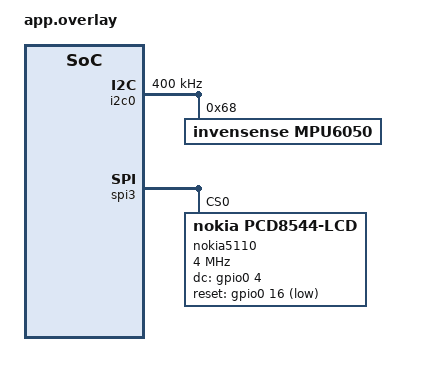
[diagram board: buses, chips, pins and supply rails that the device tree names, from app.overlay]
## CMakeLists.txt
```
cmake_minimum_required(VERSION 3.20.0)

find_package(Zephyr REQUIRED HINTS $ENV{ZEPHYR_BASE})
project(esp32_mpu_nokia)

target_sources(app PRIVATE
	src/main.c
	src/pcd8544.c
)
```

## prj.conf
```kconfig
# Bus I2C (MPU6050)
CONFIG_I2C=y

# Bus SPI + GPIO (Nokia 5110)
CONFIG_SPI=y
CONFIG_GPIO=y

# Capteur MPU6050
CONFIG_SENSOR=y
CONFIG_MPU6050=y

# printf avec des float (%.2f)
CONFIG_CBPRINTF_FP_SUPPORT=y

# Logs sur le port série
CONFIG_LOG=y
CONFIG_MAIN_STACK_SIZE=4096
```

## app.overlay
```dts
#include <zephyr/dt-bindings/gpio/gpio.h>

&i2c0 {
	status = "okay";
	clock-frequency = <I2C_BITRATE_FAST>;

	mpu6050: mpu6050@68 {
		compatible = "invensense,mpu6050";
		reg = <0x68>;          /* 0x69 si la broche AD0 est à 3V3 */
		status = "okay";
	};
};

&spi3 {
	status = "okay";

	nokia5110: lcd@0 {
		compatible = "nokia,pcd8544-lcd";
		reg = <0>;
		spi-max-frequency = <4000000>;   /* PCD8544 : 4 MHz max */
		dc-gpios = <&gpio0 4 GPIO_ACTIVE_HIGH>;
		reset-gpios = <&gpio0 16 GPIO_ACTIVE_LOW>;
	};
};
```

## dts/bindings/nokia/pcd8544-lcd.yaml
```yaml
description: Ecran Nokia 5110 (controleur PCD8544), driver dans l'application

compatible: "nokia,pcd8544-lcd"

include: spi-device.yaml

properties:
  dc-gpios:
    type: phandle-array
    required: true
    description: Broche Data/Command (D/C)

  reset-gpios:
    type: phandle-array
    required: true
    description: Broche RST (active a l'etat bas)
```

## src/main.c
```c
/*
 * ESP32 + MPU6050 + Nokia 5110 sous Zephyr
 * Affiche la température et l'accélération (en g) toutes les 500 ms.
 */

#include <zephyr/kernel.h>
#include <zephyr/device.h>
#include <zephyr/drivers/sensor.h>
#include <zephyr/logging/log.h>
#include <stdio.h>
#include "pcd8544.h"

LOG_MODULE_REGISTER(app, LOG_LEVEL_INF);

#define STANDARD_GRAVITY 9.80665
#define REFRESH_MS       500
#define LCD_CONTRAST     0x3F   /* à ajuster entre 0x30 et 0x50 */

static const struct device *const mpu = DEVICE_DT_GET_ONE(invensense_mpu6050);

int main(void)
{
	char buf[PCD8544_COLS + 1];

	int err = pcd8544_init(LCD_CONTRAST);
	if (err) {
		LOG_ERR("Nokia 5110 non prêt (%d)", err);
		return 0;
	}

	pcd8544_print(0, 0, "Demarrage...");
	pcd8544_update();

	if (!device_is_ready(mpu)) {
		LOG_ERR("MPU6050 non prêt (vérifie le câblage / adresse I2C)");
		pcd8544_clear();
		pcd8544_print(0, 0, "Erreur MPU");
		pcd8544_update();
		return 0;
	}

	LOG_INF("Démarrage OK");

	while (1) {
		struct sensor_value accel[3], temp;

		int rc = sensor_sample_fetch(mpu);
		if (rc == 0) {
			rc = sensor_channel_get(mpu, SENSOR_CHAN_ACCEL_XYZ, accel);
		}
		if (rc == 0) {
			rc = sensor_channel_get(mpu, SENSOR_CHAN_DIE_TEMP, &temp);
		}

		pcd8544_clear();

		if (rc != 0) {
			LOG_WRN("Lecture capteur échouée (%d)", rc);
			pcd8544_print(0, 0, "Erreur lecture");
		} else {
			double t  = sensor_value_to_double(&temp);
			double ax = sensor_value_to_double(&accel[0]) / STANDARD_GRAVITY;
			double ay = sensor_value_to_double(&accel[1]) / STANDARD_GRAVITY;
			double az = sensor_value_to_double(&accel[2]) / STANDARD_GRAVITY;

			pcd8544_print(0, 0, "ESP32 MPU6050");

			snprintf(buf, sizeof(buf), "T: %.1f C", t);
			pcd8544_print(0, 2, buf);
			snprintf(buf, sizeof(buf), "X: %+.2f g", ax);
			pcd8544_print(0, 3, buf);
			snprintf(buf, sizeof(buf), "Y: %+.2f g", ay);
			pcd8544_print(0, 4, buf);
			snprintf(buf, sizeof(buf), "Z: %+.2f g", az);
			pcd8544_print(0, 5, buf);

			LOG_INF("T=%.2f C  a=(%.2f, %.2f, %.2f) g", t, ax, ay, az);
		}

		pcd8544_update();
		k_msleep(REFRESH_MS);
	}

	return 0;
}
```

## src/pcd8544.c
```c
/*
 * Driver minimal pour le Nokia 5110 (PCD8544) en SPI sous Zephyr.
 * Framebuffer de 84 x 48 px, police 5x7, 14 colonnes x 6 lignes.
 */

#include <zephyr/kernel.h>
#include <zephyr/drivers/spi.h>
#include <zephyr/drivers/gpio.h>
#include <string.h>
#include "pcd8544.h"

#define LCD_NODE DT_NODELABEL(nokia5110)

static const struct spi_dt_spec spi = SPI_DT_SPEC_GET(LCD_NODE,
	SPI_OP_MODE_MASTER | SPI_TRANSFER_MSB | SPI_WORD_SET(8), 0);
static const struct gpio_dt_spec dc  = GPIO_DT_SPEC_GET(LCD_NODE, dc_gpios);
static const struct gpio_dt_spec rst = GPIO_DT_SPEC_GET(LCD_NODE, reset_gpios);

static uint8_t fb[PCD8544_WIDTH * PCD8544_ROWS];   /* 504 octets */

/* Police 5x7, caractères ASCII 0x20 (' ') à 0x7E ('~') */
static const uint8_t font5x7[][5] = {
	{0x00,0x00,0x00,0x00,0x00}, {0x00,0x00,0x5f,0x00,0x00}, /*   ! */
	{0x00,0x07,0x00,0x07,0x00}, {0x14,0x7f,0x14,0x7f,0x14}, /* " # */
	{0x24,0x2a,0x7f,0x2a,0x12}, {0x23,0x13,0x08,0x64,0x62}, /* $ % */
	{0x36,0x49,0x55,0x22,0x50}, {0x00,0x05,0x03,0x00,0x00}, /* & ' */
	{0x00,0x1c,0x22,0x41,0x00}, {0x00,0x41,0x22,0x1c,0x00}, /* ( ) */
	{0x14,0x08,0x3e,0x08,0x14}, {0x08,0x08,0x3e,0x08,0x08}, /* * + */
	{0x00,0x50,0x30,0x00,0x00}, {0x08,0x08,0x08,0x08,0x08}, /* , - */
	{0x00,0x60,0x60,0x00,0x00}, {0x20,0x10,0x08,0x04,0x02}, /* . / */
	{0x3e,0x51,0x49,0x45,0x3e}, {0x00,0x42,0x7f,0x40,0x00}, /* 0 1 */
	{0x42,0x61,0x51,0x49,0x46}, {0x21,0x41,0x45,0x4b,0x31}, /* 2 3 */
	{0x18,0x14,0x12,0x7f,0x10}, {0x27,0x45,0x45,0x45,0x39}, /* 4 5 */
	{0x3c,0x4a,0x49,0x49,0x30}, {0x01,0x71,0x09,0x05,0x03}, /* 6 7 */
	{0x36,0x49,0x49,0x49,0x36}, {0x06,0x49,0x49,0x29,0x1e}, /* 8 9 */
	{0x00,0x36,0x36,0x00,0x00}, {0x00,0x56,0x36,0x00,0x00}, /* : ; */
	{0x08,0x14,0x22,0x41,0x00}, {0x14,0x14,0x14,0x14,0x14}, /* < = */
	{0x00,0x41,0x22,0x14,0x08}, {0x02,0x01,0x51,0x09,0x06}, /* > ? */
	{0x32,0x49,0x79,0x41,0x3e}, {0x7e,0x11,0x11,0x11,0x7e}, /* @ A */
	{0x7f,0x49,0x49,0x49,0x36}, {0x3e,0x41,0x41,0x41,0x22}, /* B C */
	{0x7f,0x41,0x41,0x22,0x1c}, {0x7f,0x49,0x49,0x49,0x41}, /* D E */
	{0x7f,0x09,0x09,0x09,0x01}, {0x3e,0x41,0x49,0x49,0x7a}, /* F G */
	{0x7f,0x08,0x08,0x08,0x7f}, {0x00,0x41,0x7f,0x41,0x00}, /* H I */
	{0x20,0x40,0x41,0x3f,0x01}, {0x7f,0x08,0x14,0x22,0x41}, /* J K */
	{0x7f,0x40,0x40,0x40,0x40}, {0x7f,0x02,0x0c,0x02,0x7f}, /* L M */
	{0x7f,0x04,0x08,0x10,0x7f}, {0x3e,0x41,0x41,0x41,0x3e}, /* N O */
	{0x7f,0x09,0x09,0x09,0x06}, {0x3e,0x41,0x51,0x21,0x5e}, /* P Q */
	{0x7f,0x09,0x19,0x29,0x46}, {0x46,0x49,0x49,0x49,0x31}, /* R S */
	{0x01,0x01,0x7f,0x01,0x01}, {0x3f,0x40,0x40,0x40,0x3f}, /* T U */
	{0x1f,0x20,0x40,0x20,0x1f}, {0x3f,0x40,0x38,0x40,0x3f}, /* V W */
	{0x63,0x14,0x08,0x14,0x63}, {0x07,0x08,0x70,0x08,0x07}, /* X Y */
	{0x61,0x51,0x49,0x45,0x43}, {0x00,0x7f,0x41,0x41,0x00}, /* Z [ */
	{0x02,0x04,0x08,0x10,0x20}, {0x00,0x41,0x41,0x7f,0x00}, /* \ ] */
	{0x04,0x02,0x01,0x02,0x04}, {0x40,0x40,0x40,0x40,0x40}, /* ^ _ */
	{0x00,0x01,0x02,0x04,0x00}, {0x20,0x54,0x54,0x54,0x78}, /* ` a */
	{0x7f,0x48,0x44,0x44,0x38}, {0x38,0x44,0x44,0x44,0x20}, /* b c */
	{0x38,0x44,0x44,0x48,0x7f}, {0x38,0x54,0x54,0x54,0x18}, /* d e */
	{0x08,0x7e,0x09,0x01,0x02}, {0x0c,0x52,0x52,0x52,0x3e}, /* f g */
	{0x7f,0x08,0x04,0x04,0x78}, {0x00,0x44,0x7d,0x40,0x00}, /* h i */
	{0x20,0x40,0x44,0x3d,0x00}, {0x7f,0x10,0x28,0x44,0x00}, /* j k */
	{0x00,0x41,0x7f,0x40,0x00}, {0x7c,0x04,0x18,0x04,0x78}, /* l m */
	{0x7c,0x08,0x04,0x04,0x78}, {0x38,0x44,0x44,0x44,0x38}, /* n o */
	{0x7c,0x14,0x14,0x14,0x08}, {0x08,0x14,0x14,0x18,0x7c}, /* p q */
	{0x7c,0x08,0x04,0x04,0x08}, {0x48,0x54,0x54,0x54,0x20}, /* r s */
	{0x04,0x3f,0x44,0x40,0x20}, {0x3c,0x40,0x40,0x20,0x7c}, /* t u */
	{0x1c,0x20,0x40,0x20,0x1c}, {0x3c,0x40,0x30,0x40,0x3c}, /* v w */
	{0x44,0x28,0x10,0x28,0x44}, {0x0c,0x50,0x50,0x50,0x3c}, /* x y */
	{0x44,0x64,0x54,0x4c,0x44}, {0x00,0x08,0x36,0x41,0x00}, /* z { */
	{0x00,0x00,0x7f,0x00,0x00}, {0x00,0x41,0x36,0x08,0x00}, /* | } */
	{0x10,0x08,0x08,0x10,0x08},                             /* ~   */
};

static int lcd_write(bool is_data, const uint8_t *buf, size_t len)
{
	gpio_pin_set_dt(&dc, is_data ? 1 : 0);

	const struct spi_buf b = { .buf = (void *)buf, .len = len };
	const struct spi_buf_set tx = { .buffers = &b, .count = 1 };

	return spi_write_dt(&spi, &tx);
}

int pcd8544_init(uint8_t contrast)
{
	if (!spi_is_ready_dt(&spi) || !gpio_is_ready_dt(&dc) ||
	    !gpio_is_ready_dt(&rst)) {
		return -ENODEV;
	}

	gpio_pin_configure_dt(&dc, GPIO_OUTPUT_INACTIVE);
	gpio_pin_configure_dt(&rst, GPIO_OUTPUT_ACTIVE);  /* reset actif */
	k_msleep(10);
	gpio_pin_set_dt(&rst, 0);                         /* fin du reset */
	k_msleep(10);

	const uint8_t init[] = {
		0x21,                      /* jeu d'instructions étendu */
		0x80 | (contrast & 0x7F),  /* Vop (contraste) */
		0x04,                      /* coefficient de température */
		0x14,                      /* bias 1:48 */
		0x20,                      /* jeu de base, adressage horizontal */
		0x0C,                      /* affichage normal */
	};

	int err = lcd_write(false, init, sizeof(init));
	if (err) {
		return err;
	}

	pcd8544_clear();
	return pcd8544_update();
}

void pcd8544_clear(void)
{
	memset(fb, 0, sizeof(fb));
}

void pcd8544_print(uint8_t col, uint8_t row, const char *s)
{
	if (row >= PCD8544_ROWS) {
		return;
	}

	for (; *s != '\0' && col < PCD8544_COLS; s++, col++) {
		char c = *s;
		if (c < 0x20 || c > 0x7E) {
			c = '?';
		}
		const uint8_t *glyph = font5x7[c - 0x20];
		uint8_t *dst = &fb[row * PCD8544_WIDTH + col * 6];

		memcpy(dst, glyph, 5);
		dst[5] = 0x00;   /* espace entre caractères */
	}
}

int pcd8544_update(void)
{
	const uint8_t home[] = { 0x80, 0x40 };   /* X = 0, Y = 0 */
	int err = lcd_write(false, home, sizeof(home));

	if (err) {
		return err;
	}
	return lcd_write(true, fb, sizeof(fb));
}
```

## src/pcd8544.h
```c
#ifndef PCD8544_H
#define PCD8544_H

#include <stdint.h>

#define PCD8544_WIDTH   84
#define PCD8544_HEIGHT  48
#define PCD8544_COLS    14   /* caractères par ligne (6 px chacun) */
#define PCD8544_ROWS    6    /* lignes de texte (8 px chacune) */

/* contrast : 0..127 (valeur typique 0x3F, à ajuster selon le module) */
int  pcd8544_init(uint8_t contrast);
void pcd8544_clear(void);
void pcd8544_print(uint8_t col, uint8_t row, const char *s);
int  pcd8544_update(void);

#endif
```
